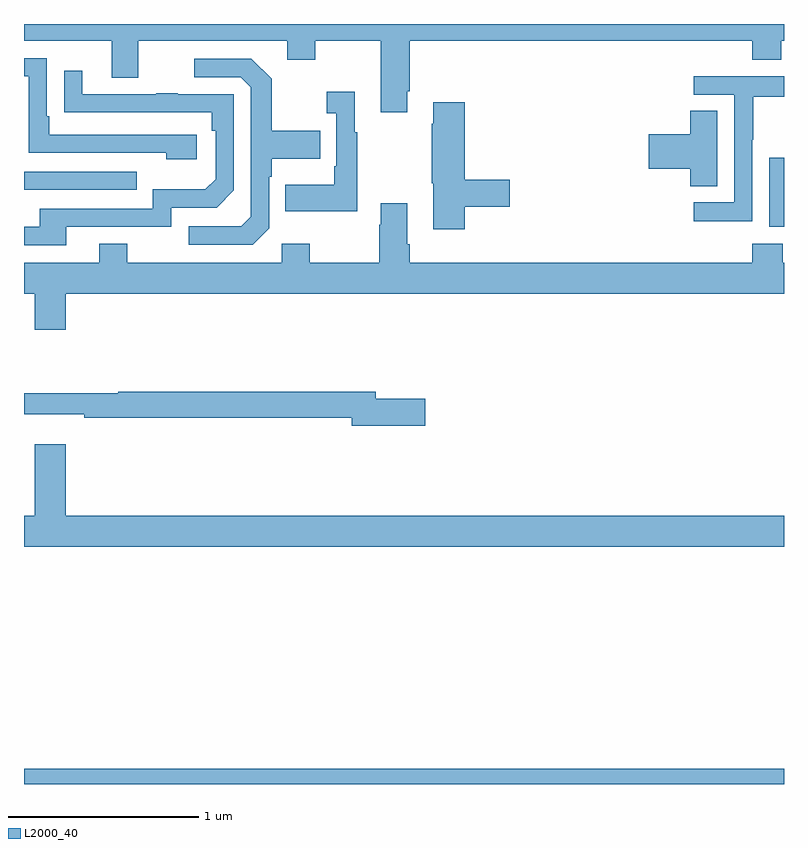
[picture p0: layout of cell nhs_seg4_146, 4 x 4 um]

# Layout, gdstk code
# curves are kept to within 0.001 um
import gdstk
lib = gdstk.Library(unit=1e-6, precision=1e-09)
def R(c, l, rs):  # rectangles x0, y0, x1, y1
    for r in rs: c.add(gdstk.rectangle(r[:2], r[2:], *l))
def P(c, l, *ps):  # polygons
    for p in ps: c.add(gdstk.Polygon(p, *l))
L2000_40 = (2000, 40)

nhs_seg4_146 = lib.new_cell('nhs_seg4_146')
R(nhs_seg4_146, L2000_40, [(117,800.9,121,800.98), (120.923,803.834,121,804.195), (117,804.027,117.593,804.123)])
P(nhs_seg4_146, L2000_40, [(119.017,804.547),(119.03,804.547),(119.03,804.812),(120.833,804.812),(120.833,804.713),(120.985,804.713),(120.985,804.812),(121,804.812),(121,804.9),(117,804.9),(117,804.812),(117.461,804.812),(117.461,804.618),(117.601,804.618),(117.601,804.812),(118.385,804.812),(118.385,804.713),(118.533,804.713),(118.533,804.812),(118.877,804.812),(118.877,804.435),(119.017,804.435)],
  [(117.91,804.318),(117.133,804.318),(117.133,804.415),(117.12,804.415),(117.12,804.72),(117,804.72),(117,804.624),(117.024,804.624),(117.024,804.222),(117.749,804.222),(117.749,804.188),(117.91,804.188)],
  [(118.29,803.826),(118.29,804.095),(118.303,804.095),(118.303,804.191),(118.559,804.191),(118.559,804.339),(118.303,804.339),(118.303,804.611),(118.197,804.717),(117.897,804.717),(117.897,804.621),(118.14,804.621),(118.194,804.567),(118.194,803.886),(118.143,803.835),(117.867,803.835),(117.867,803.739),(118.203,803.739)],
  [(117.223,803.832),(117.774,803.832),(117.774,803.934),(118.014,803.934),(118.104,804.024),(118.104,804.531),(117.809,804.531),(117.809,804.536),(117.697,804.536),(117.697,804.531),(117.307,804.531),(117.307,804.655),(117.211,804.655),(117.211,804.436),(117.988,804.435),(117.988,804.338),(118.008,804.338),(118.008,804.084),(117.955,804.031),(117.678,804.031),(117.678,803.928),(117.083,803.928),(117.083,803.832),(117,803.832),(117,803.736),(117.223,803.736)],
  [(120.834,804.292),(120.837,804.292),(120.837,804.516),(121,804.516),(121,804.624),(120.525,804.624),(120.525,804.528),(120.738,804.528),(120.738,803.961),(120.525,803.961),(120.525,803.863),(120.834,803.863)],
  [(118.753,804.331),(118.741,804.331),(118.741,804.544),(118.593,804.544),(118.593,804.431),(118.644,804.431),(118.644,804.151),(118.632,804.151),(118.632,804.055),(118.375,804.055),(118.375,803.915),(118.753,803.915)],
  [(119.321,803.938),(119.557,803.938),(119.557,804.08),(119.321,804.08),(119.321,804.487),(119.153,804.487),(119.153,804.374),(119.146,804.374),(119.146,804.063),(119.153,804.063),(119.153,803.82),(119.321,803.82)],
  [(120.649,804.443),(120.506,804.443),(120.506,804.32),(120.288,804.32),(120.288,804.137),(120.506,804.137),(120.506,804.046),(120.649,804.046)],
  [(117.22,803.48),(121,803.48),(121,803.644),(120.993,803.644),(120.993,803.743),(120.833,803.743),(120.833,803.644),(119.03,803.644),(119.03,803.74),(119.017,803.74),(119.017,803.956),(118.877,803.956),(118.877,803.843),(118.87,803.843),(118.87,803.644),(118.503,803.644),(118.503,803.743),(118.356,803.743),(118.356,803.644),(117.543,803.644),(117.543,803.743),(117.395,803.743),(117.395,803.644),(117,803.644),(117,803.48),(117.056,803.48),(117.056,803.292),(117.22,803.292)],
  [(119.113,802.928),(118.852,802.928),(118.852,802.964),(117.495,802.964),(117.495,802.957),(117,802.957),(117,802.847),(117.316,802.847),(117.316,802.828),(118.724,802.828),(118.724,802.786),(119.113,802.786)],
  [(121,802.312),(117.22,802.312),(117.22,802.687),(117.056,802.687),(117.056,802.312),(117,802.312),(117,802.148),(121,802.148)])

lib.write_gds('nhs_seg4_146.gds')
